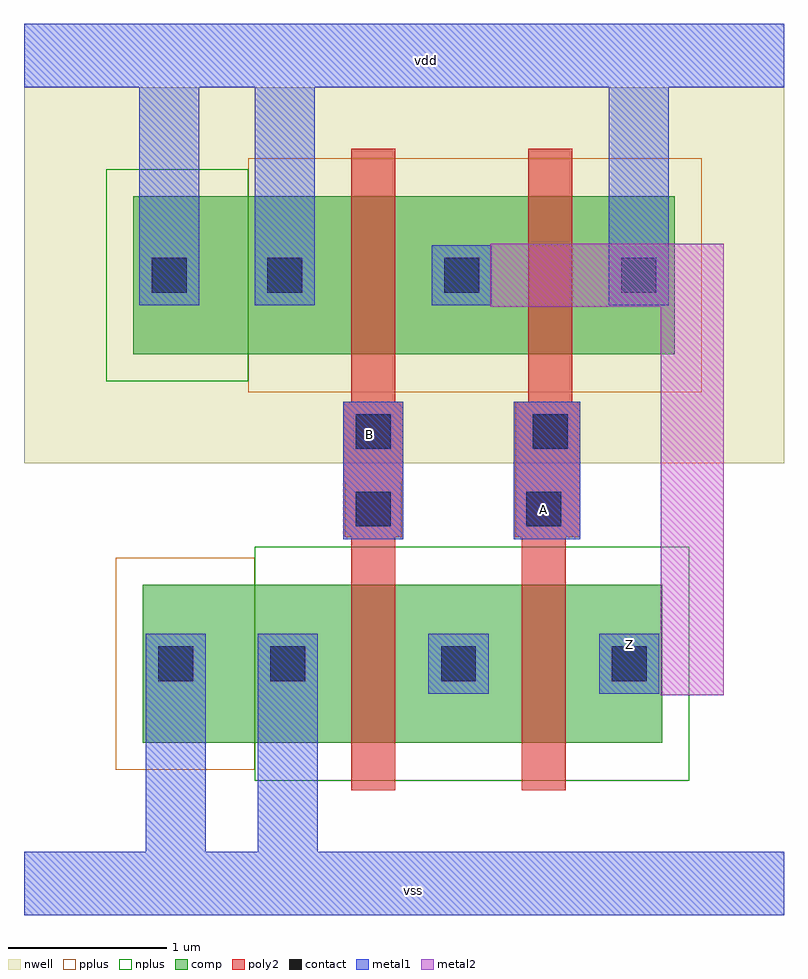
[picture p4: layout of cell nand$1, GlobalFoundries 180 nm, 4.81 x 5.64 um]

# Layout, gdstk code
import gdstk
lib = gdstk.Library(unit=1e-6, precision=5e-09)
def R(c, l, rs):  # rectangles x0, y0, x1, y1
    for r in rs: c.add(gdstk.rectangle(r[:2], r[2:], *l))
nwell = (21, 0)
comp = (22, 0)
poly2 = (30, 0)
pplus = (31, 0)
nplus = (32, 0)
contact = (33, 0)
metal1 = (34, 0)
metal2 = (36, 0)

pfet_2_2 = lib.new_cell('pfet$2$2')

pfet_7 = lib.new_cell('pfet$7')
R(pfet_7, nwell, [(-16.395,14.245,-13.935,16.125)])
R(pfet_7, comp, [(-15.955,14.685,-15.495,15.685), (-15.495,14.685,-14.835,15.685), (-14.835,14.685,-14.375,15.685)])
R(pfet_7, poly2, [(-15.355,14.005,-14.975,14.385), (-15.305,14.385,-15.025,15.985)])
R(pfet_7, pplus, [(-16.125,14.445,-14.205,15.925)])
R(pfet_7, contact, [(-15.275,14.085,-15.055,14.305), (-15.835,15.075,-15.615,15.295), (-14.715,15.075,-14.495,15.295)])
R(pfet_7, metal1, [(-15.355,14.005,-14.975,14.385), (-15.915,14.995,-15.535,15.375), (-14.795,14.995,-14.415,15.375)])

via_dev_6 = lib.new_cell('via_dev$6')

via_dev_2_3 = lib.new_cell('via_dev$2$3')

pfet_1_3 = lib.new_cell('pfet$1$3')
R(pfet_1_3, nwell, [(-19.615,13.995,-15.925,16.375)])
R(pfet_1_3, comp, [(-18.925,14.685,-18.195,15.685), (-18.195,14.685,-17.735,15.685), (-17.735,14.685,-17.075,15.685), (-17.075,14.685,-16.615,15.685)])
R(pfet_1_3, poly2, [(-17.595,14.005,-17.215,14.385), (-17.545,14.385,-17.265,15.985)])
R(pfet_1_3, pplus, [(-18.195,14.445,-16.445,15.925)])
R(pfet_1_3, nplus, [(-19.095,14.515,-18.195,15.855)])
R(pfet_1_3, contact, [(-17.515,14.085,-17.295,14.305), (-18.805,15.075,-18.585,15.295), (-18.075,15.075,-17.855,15.295), (-16.955,15.075,-16.735,15.295)])
R(pfet_1_3, metal1, [(-17.595,14.005,-17.215,14.385), (-18.885,14.995,-18.505,15.375), (-18.155,14.995,-17.775,15.375), (-17.035,14.995,-16.655,15.375)])

nfet_2_1 = lib.new_cell('nfet$2$1')
R(nfet_2_1, comp, [(-18.865,14.685,-18.155,15.685), (-18.155,14.685,-17.735,15.685), (-17.735,14.685,-17.075,15.685), (-17.075,14.685,-16.655,15.685)])
R(nfet_2_1, poly2, [(-17.545,14.385,-17.265,15.985), (-17.585,15.985,-17.225,16.345)])
R(nfet_2_1, pplus, [(-19.035,14.515,-18.155,15.855)])
R(nfet_2_1, nplus, [(-18.155,14.445,-16.485,15.925)])
R(nfet_2_1, contact, [(-18.765,15.075,-18.545,15.295), (-18.055,15.075,-17.835,15.295), (-16.975,15.075,-16.755,15.295), (-17.515,16.055,-17.295,16.275)])
R(nfet_2_1, metal1, [(-18.845,14.995,-18.465,15.375), (-18.135,14.995,-17.755,15.375), (-17.055,14.995,-16.675,15.375), (-17.595,15.975,-17.215,16.355)])

nfet_3_2 = lib.new_cell('nfet$3$2')
R(nfet_3_2, comp, [(-15.995,14.685,-15.575,15.685), (-15.575,14.685,-14.915,15.685), (-14.915,14.685,-14.495,15.685)])
R(nfet_3_2, poly2, [(-15.385,14.385,-15.105,15.985), (-15.425,15.985,-15.065,16.345)])
R(nfet_3_2, nplus, [(-16.165,14.445,-14.325,15.925)])
R(nfet_3_2, contact, [(-15.895,15.075,-15.675,15.295), (-14.815,15.075,-14.595,15.295), (-15.355,16.055,-15.135,16.275)])
R(nfet_3_2, metal1, [(-15.975,14.995,-15.595,15.375), (-14.895,14.995,-14.515,15.375), (-15.435,15.975,-15.055,16.355)])

nand_1 = lib.new_cell('nand$1')
R(nand_1, nwell, [(-14.98,13.205,-13.86,15.585)])
R(nand_1, poly2, [(-15.56,12.735,-15.15,13.595), (-16.65,13.095,-16.27,13.195), (-16.65,13.195,-16.27,13.215)])
R(nand_1, metal1, [(-18.67,10.345,-13.86,10.745), (-17.9,10.745,-17.52,12.125), (-17.19,10.745,-16.81,12.125), (-15.57,12.725,-15.15,13.595), (-16.65,13.105,-16.27,13.215), (-16.65,13.205,-16.27,13.215), (-17.94,14.21,-17.56,15.585), (-17.21,14.21,-16.83,15.585), (-14.97,14.21,-14.59,15.585), (-18.67,15.585,-13.86,15.985)])
nand_1.add(gdstk.FlexPath([(-14.44,11.735),(-14.44,14.395),(-15.72,14.395)], 0.4, ends="flush", simple_path=True, layer=36, datatype=0))  # metal2
nand_1.add(gdstk.Reference(pfet_2_2, (5.155,-2.67)))
nand_1.add(gdstk.Reference(pfet_7, (-0.175,-0.79)))
nand_1.add(gdstk.Reference(via_dev_6, (-0.94,-1.74)))
nand_1.add(gdstk.Reference(via_dev_2_3, (1.075,-1.48)))
nand_1.add(gdstk.Reference(pfet_1_3, (0.945,-0.79)))
nand_1.add(gdstk.Reference(via_dev_2_3, (0.515,-0.49)))
nand_1.add(gdstk.Reference(via_dev_2_3, (-0.545,-2.95)))
nand_1.add(gdstk.Reference(nfet_2_1, (0.945,-3.25)))
nand_1.add(gdstk.Reference(via_dev_2_3, (-0.005,-1.97)))
nand_1.add(gdstk.Reference(nfet_3_2, (-0.135,-3.25)))
nand_1.add(gdstk.Label('vss', (-16.205,10.5), layer=34, texttype=10))
nand_1.add(gdstk.Label('vdd', (-16.125,15.755), layer=34, texttype=10))
nand_1.add(gdstk.Label('B', (-16.485,13.385), layer=36, texttype=10))
nand_1.add(gdstk.Label('A', (-15.385,12.91), layer=36, texttype=10))
nand_1.add(gdstk.Label('Z', (-14.84,12.06), layer=36, texttype=10))

lib.write_gds('nand_1.gds')
